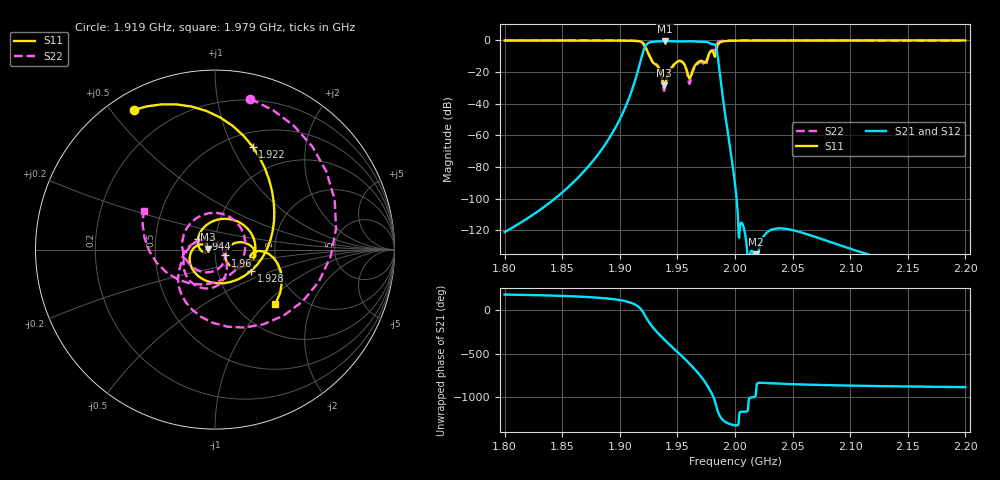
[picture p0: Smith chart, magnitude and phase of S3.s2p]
! Touchstone file exported from HFSS 2023.1.0
!  File:  E:/3.%x6211%x7684%x8BBA%x6587/%x65B0%x6D4B%x8BD5/CoaxialF93.aedt
!  Generated:  9:33:19 %x4E0B%x5348  5%x6708 26, 2023
!  Design:  S3
!  Project:  CoaxialF93
!  Setup:  Setup1
!  Solution:  Sweep
! Variables:
!  Hin1 = 26mm
!  Hout = 29mm
!  L12 = 15.3mm
!  L13 = 14.5mm
!  L23 = 6.6mm
!  L34 = 12.3mm
!  L45 = 7.7mm
!  L46 = 2.7mm
!  L56 = 8mm
!  L67 = 12.5mm
!  L78 = 9mm
!  L79 = 9.3mm
!  L89 = 16mm
!  Rin = 5mm
!  Rin2 = 4mm
!  Rout = 15mm
!  Rport = 1.15mm
!  Rport2 = 3mm
!  Rportin = 0.5mm
!  d = 3mm
!  d01 = 2.86mm
!  d02 = 3.42mm
!  d03 = 3.62mm
!  d04 = 3.67mm
!  d05 = 3.66mm
!  d06 = 3.7mm
!  d07 = 3.64mm
!  d08 = 3.56mm
!  d09 = 2.87mm
!  d12 = 18mm
!  d12x = 15.5mm
!  d12y = 25mm
!  d23 = 18mm
!  d34 = 30mm
!  hport = 10.4mm
!  hport2 = 10.4mm
!  lport = 12mm
!  lport2 = 1mm
!  lport_2 = 12mm
!  m = 2mm
!  w12 = 12mm
!  w13 = 10mm
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# GHz S MA R 50.000000
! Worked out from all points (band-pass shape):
!   1001 points, 1.8 GHz to 2.2 GHz, reference 50 ohm
!   highest |S21| = -0.48 dB at 1.939 GHz (marker M1); lowest = -152.8 dB at 2.018 GHz (marker M2)
!   |S21| within 3 dB of the highest: 1.922 GHz to 1.983 GHz (61.05 MHz wide, 3.13 % of centre)
!   lowest |S11| = -28.5 dB at 1.938 GHz (marker M3), VSWR 1.08, Z = 46.4 + j0.261 ohm
!   |S11| at or under -10 dB: 1.926 GHz to 1.977 GHz (50.72 MHz wide, 2.6 % of centre); 1.982285 GHz to 1.982875 GHz (589.8 kHz wide, 0.0298 % of centre)
!   |S22| runs from -31.9 to 0.0 dB; largest |S21 - S12| = 9.9e-12
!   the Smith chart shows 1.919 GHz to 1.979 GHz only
!   S11 on the Smith chart (normalised r, x): 1.919 GHz: 0.07, +0.57; 1.922 GHz: 0.66, +1.20; 1.928 GHz: 1.45, -0.36; 1.944 GHz: 0.82, +0.10; 1.96 GHz: 1.12, -0.07; 1.979 GHz: 1.49, -1.14
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1.8  0.9985 -90.0  8.817e-07 179.2  8.817e-07 179.2  0.9985 -90.0
! Gamma 0.0540163416803418 37.7797498281007 0.0538759432632121 37.7795992602813
! Port Impedance 50 0 50 0
1.8668  0.9963 -114.1  6.028e-05 154.4  6.028e-05 154.4  0.9963 -114.2
1.9096  0.9812 -178.1  0.02146 84.8  0.02146 84.8  0.9765 174.5
1.9188  0.9007 120.3  0.2903 3.6  0.2903 3.6  0.8623 76.8
1.9224  0.6112 70.0  0.6845 -74.4  0.6845 -74.4  0.5668 -30.7
1.9276  0.2338 -30.2  0.8973 -179.6  0.8973 -179.6  0.251 -144.6
1.9336  0.1398 -169.7  0.932 88.7  0.932 88.7  0.1433 172.3
1.9384  0.03776 175.7  0.9459 24.0  0.9459 24.0  0.02542 54.9
1.9392  0.04199 -168.3  0.9462 13.6  0.9462 13.6  0.03309 5.8
1.9436  0.1119 148.0  0.9421 -42.2  0.9421 -42.2  0.1187 -56.0
1.9532  0.2213 -6.6  0.9244 -160.3  0.9244 -160.3  0.2203 -132.7
1.96  0.06589 -29.8  0.9439 111.7  0.9439 111.7  0.04633 79.3
1.9672  0.1949 7.4  0.9212 8.0  0.9212 8.0  0.1774 -173.6
1.9728  0.2096 -14.1  0.9078 -85.0  0.9078 -85.0  0.1809 26.0
1.9788  0.453 -42.1  0.7903 146.4  0.7903 146.4  0.4526 151.4
1.9828  0.3076 103.3  0.7302 22.4  0.7302 22.4  0.4939 113.4
1.9876  0.8849 146.2  0.05307 -155.2  0.05307 -155.2  0.9638 65.3
2  0.9848 20.0  2.963e-05 114.7  2.963e-05 114.7  0.9893 11.0
2.0184  0.9949 -17.7  2.292e-08 163.8  2.292e-08 163.8  0.9954 -19.2
2.0668  0.9983 -48.8  6.72e-07 -138.6  6.72e-07 -138.6  0.9983 -48.9
2.1336  0.999 -65.6  1.096e-07 -155.5  1.096e-07 -155.5  0.999 -65.6
2.2  0.999 -75.8  2.634e-08 -165.8  2.634e-08 -165.8  0.999 -75.8
